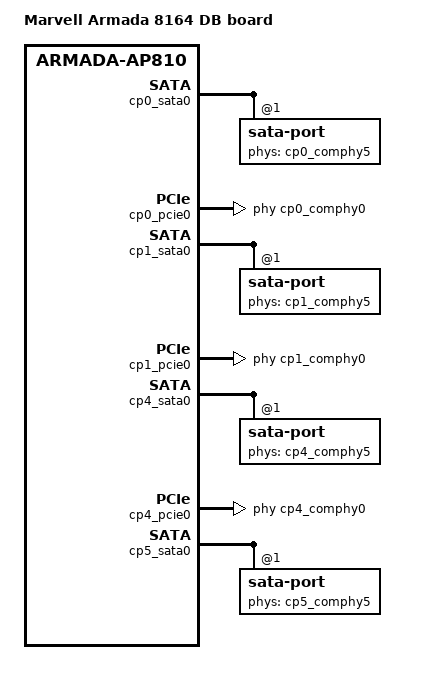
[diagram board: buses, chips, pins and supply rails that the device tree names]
/*
 * Copyright (C) 2017 Marvell Technology Group Ltd.
 *
 * This file is dual-licensed: you can use it either under the terms
 * of the GPLv2 or the X11 license, at your option. Note that this dual
 * licensing only applies to this file, and not this project as a
 * whole.
 *
 *  a) This library is free software; you can redistribute it and/or
 *     modify it under the terms of the GNU General Public License as
 *     published by the Free Software Foundation; either version 2 of the
 *     License, or (at your option) any later version.
 *
 *     This library is distributed in the hope that it will be useful,
 *     but WITHOUT ANY WARRANTY; without even the implied warranty of
 *     MERCHANTABILITY or FITNESS FOR A PARTICULAR PURPOSE.  See the
 *     GNU General Public License for more details.
 *
 * Or, alternatively,
 *
 *  b) Permission is hereby granted, free of charge, to any person
 *     obtaining a copy of this software and associated documentation
 *     files (the "Software"), to deal in the Software without
 *     restriction, including without limitation the rights to use,
 *     copy, modify, merge, publish, distribute, sublicense, and/or
 *     sell copies of the Software, and to permit persons to whom the
 *     Software is furnished to do so, subject to the following
 *     conditions:
 *
 *     The above copyright notice and this permission notice shall be
 *     included in all copies or substantial portions of the Software.
 *
 *     THE SOFTWARE IS PROVIDED "AS IS", WITHOUT WARRANTY OF ANY KIND,
 *     EXPRESS OR IMPLIED, INCLUDING BUT NOT LIMITED TO THE WARRANTIES
 *     OF MERCHANTABILITY, FITNESS FOR A PARTICULAR PURPOSE AND
 *     NONINFRINGEMENT. IN NO EVENT SHALL THE AUTHORS OR COPYRIGHT
 *     HOLDERS BE LIABLE FOR ANY CLAIM, DAMAGES OR OTHER LIABILITY,
 *     WHETHER IN AN ACTION OF CONTRACT, TORT OR OTHERWISE, ARISING
 *     FROM, OUT OF OR IN CONNECTION WITH THE SOFTWARE OR THE USE OR
 *     OTHER DEALINGS IN THE SOFTWARE.
 */

/*
 * Device Tree file for Marvell Armada-8164 Development board platform
 */

#include "armada-8164-db.dtsi"

/ {
	model = "Marvell Armada 8164 DB board";
	compatible = "marvell,armada-8164-db", "marvell,armada-8164",
		     "marvell,armada-ap810-octa", "marvell,armada-ap810";

	chosen {
		stdout-path = "serial0:115200n8";
	};

	memory0@ap0 {
		device_type = "memory";
		reg = <0x0 0x0 0x0 0x80000000>;
	};
};

&ap0_xor0 {
	status = "disabled";
};

&ap0_xor1 {
	status = "disabled";
};

&ap1_xor0 {
	status = "disabled";
};

&ap1_xor1 {
	status = "disabled";
};

&cp0_sata0 {
	status = "okay";
	sata-port@1 {
		reg = <1>;
		status = "okay";
		/* Generic PHY, providing serdes lanes */
		phys = <&cp0_comphy5 1>;
	};
};

&cp0_pcie0 {
	status = "okay";
	msi-parent = <&ap0_gic_its>;

	/* Generic PHY, providing serdes lanes */
	phys = <&cp0_comphy0 0
		&cp0_comphy1 0
		&cp0_comphy2 0
		&cp0_comphy3 0>;
	phy-names = "pcie-phy0", "pcie-phy1", "pcie-phy2", "pcie-phy3";
};

&cp0_pcie1 {
	msi-parent = <&ap0_gic_its>;
};

&cp0_pcie2 {
	msi-parent = <&ap0_gic_its>;
};

&cp1_sata0 {
	status = "okay";
	sata-port@1 {
		reg = <1>;
		status = "okay";
		/* Generic PHY, providing serdes lanes */
		phys = <&cp1_comphy5 1>;
	};
};

&cp1_pcie0 {
	status = "okay";
	msi-parent = <&ap0_gic_its>;

	/* Generic PHY, providing serdes lanes */
	phys = <&cp1_comphy0 0
		&cp1_comphy1 0
		&cp1_comphy2 0
		&cp1_comphy3 0>;
	phy-names = "pcie-phy0", "pcie-phy1", "pcie-phy2", "pcie-phy3";
};

&cp1_pcie1 {
	msi-parent = <&ap0_gic_its>;
};

&cp1_pcie2 {
	msi-parent = <&ap0_gic_its>;
};

&cp4_sata0 {
	status = "okay";
	sata-port@1 {
		reg = <1>;
		status = "okay";
		/* Generic PHY, providing serdes lanes */
		phys = <&cp4_comphy5 1>;
	};
};

&cp4_pcie0 {
	status = "okay";
	msi-parent = <&ap1_gic_its>;

	/* Generic PHY, providing serdes lanes */
	phys = <&cp4_comphy0 0
		&cp4_comphy1 0
		&cp4_comphy2 0
		&cp4_comphy3 0>;
	phy-names = "pcie-phy0", "pcie-phy1", "pcie-phy2", "pcie-phy3";
};

&cp4_pcie1 {
	msi-parent = <&ap1_gic_its>;
};

&cp4_pcie2 {
	msi-parent = <&ap1_gic_its>;
};

&cp5_sata0 {
	status = "okay";
	sata-port@1 {
		reg = <1>;
		status = "okay";
		/* Generic PHY, providing serdes lanes */
		phys = <&cp5_comphy5 1>;
	};
};

&cp5_pcie0 {
	msi-parent = <&ap1_gic_its>;
};

&cp5_pcie1 {
	msi-parent = <&ap1_gic_its>;
};

&cp5_pcie2 {
	msi-parent = <&ap1_gic_its>;
};
